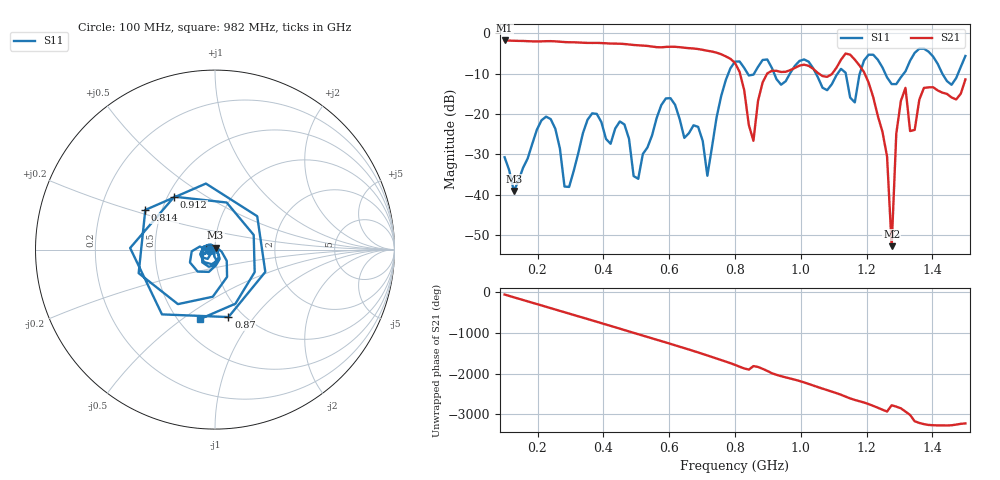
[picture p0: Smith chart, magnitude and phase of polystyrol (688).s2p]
! NanoVNA-App
! Date: 2025-09-25 15:35:14
! Start: 100MHz Stop: 1,5GHz Points: 101
! S-Parameter data: F S11 S21 S12 S22
# Hz S RI R 50
!  Frequency  S11_Real  S11_Imag  S21_Real  S21_Imag  S12_Real  S12_Imag  S22_Real  S22_Imag
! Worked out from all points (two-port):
!   101 points, 100 MHz to 1.5 GHz, reference 50 ohm
!   highest |S21| = -1.80 dB at 100 MHz (marker M1); lowest = -52.7 dB at 1.276 GHz (marker M2)
!   |S21| within 3 dB of the highest: start of sweep to 743.1 MHz
!   lowest |S11| = -39.1 dB at 128 MHz (marker M3), VSWR 1.02, Z = 50.3 + j1.06 ohm
!   |S11| at or under -10 dB: start of sweep to 779.7 MHz; 1.046 GHz to 1.112 GHz (65.86 MHz wide, 6.1 % of centre); 1.257 GHz to 1.313 GHz (56 MHz wide, 4.36 % of centre) (the widest 3 of 7)
!   S12 and S22 are empty: the file has one direction only
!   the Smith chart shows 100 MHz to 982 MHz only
!   S11 on the Smith chart (normalised r, x): 100 MHz: 0.94, -0.01; 814 MHz: 0.41, +0.22; 870 MHz: 0.86, -0.75; 912 MHz: 0.54, +0.37; 982 MHz: 0.64, -0.58
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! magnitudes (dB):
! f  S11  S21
! 100 MHz  -30.7  -1.8
! 128 MHz  -39.1  -1.9
! 212 MHz  -21.6  -2.0
! 282 MHz  -38.0  -2.2
! 338 MHz  -24.7  -2.4
! 506 MHz  -36.0  -3.0
! 576 MHz  -17.8  -3.5
! 716 MHz  -35.3  -4.3
! 800 MHz  -7.0  -7.4
! 814 MHz  -7.0  -9.6
! 856 MHz  -10.3  -26.6
! 870 MHz  -8.3  -16.7
! 912 MHz  -8.6  -9.3
! 982 MHz  -8.1  -8.6
! 1.038 GHz  -8.7  -8.8
! 1.192 GHz  -6.8  -9.6
! 1.262 GHz  -10.9  -30.5
! 1.276 GHz  -12.6  -52.7
! 1.29 GHz  -12.6  -24.9
! 1.318 GHz  -9.4  -13.5
! 1.332 GHz  -6.8  -24.2
! 1.5 GHz  -5.6  -11.4
